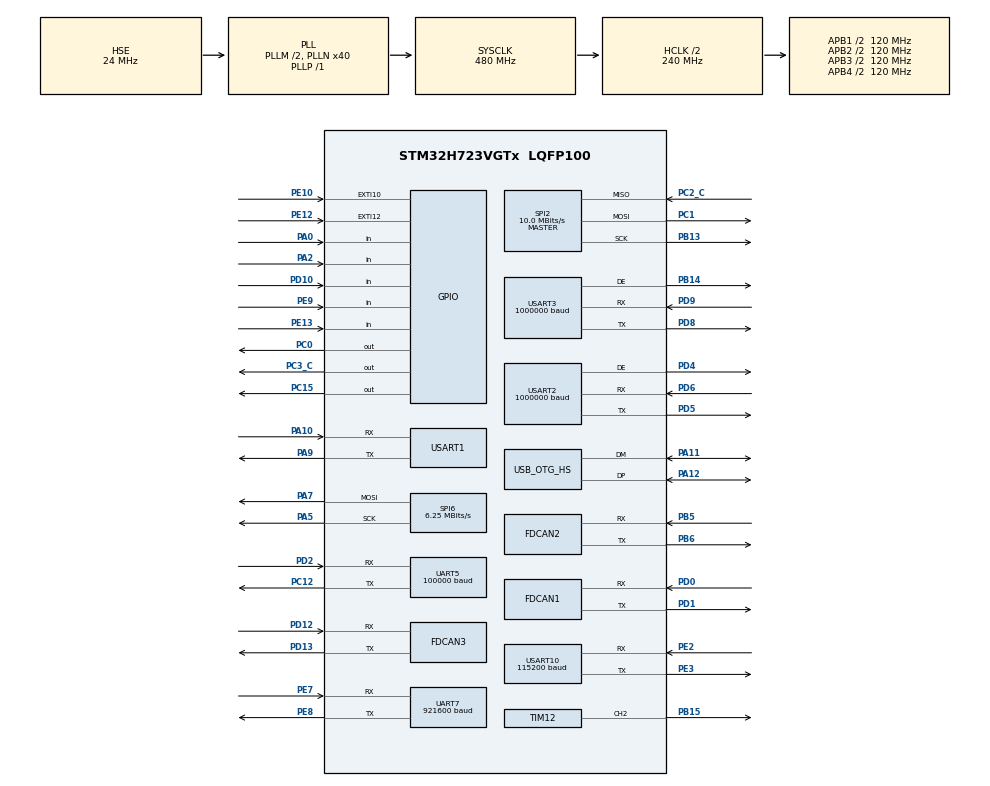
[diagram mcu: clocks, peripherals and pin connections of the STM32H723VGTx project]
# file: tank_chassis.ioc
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CORTEX_M7.CPU_ICache=Enabled
CORTEX_M7.Enable_Spec=MPU_REGION_ENABLE
CORTEX_M7.MPU_Control=__NULL
CORTEX_M7.default_mode_Activation=1
Dma.Request0=UART5_RX
Dma.Request1=UART7_RX
Dma.Request10=USART3_TX
Dma.Request11=SPI2_RX
Dma.Request12=SPI2_TX
Dma.Request2=UART7_TX
Dma.Request3=USART1_RX
Dma.Request4=USART1_TX
Dma.Request5=USART10_RX
Dma.Request6=USART10_TX
Dma.Request7=USART2_RX
Dma.Request8=USART2_TX
Dma.Request9=USART3_RX
Dma.SPI2_RX.11.Direction=DMA_PERIPH_TO_MEMORY
Dma.SPI2_RX.11.EventEnable=DISABLE
Dma.SPI2_RX.11.FIFOMode=DMA_FIFOMODE_DISABLE
Dma.SPI2_RX.11.Instance=DMA2_Stream3
Dma.SPI2_RX.11.MemDataAlignment=DMA_MDATAALIGN_BYTE
Dma.SPI2_RX.11.MemInc=DMA_MINC_ENABLE
Dma.SPI2_RX.11.Mode=DMA_NORMAL
Dma.SPI2_RX.11.PeriphDataAlignment=DMA_PDATAALIGN_BYTE
Dma.SPI2_RX.11.PeriphInc=DMA_PINC_DISABLE
Dma.SPI2_RX.11.Polarity=HAL_DMAMUX_REQ_GEN_RISING
Dma.SPI2_RX.11.Priority=DMA_PRIORITY_LOW
Dma.SPI2_RX.11.RequestNumber=1
Dma.SPI2_RX.11.SignalID=NONE
Dma.SPI2_RX.11.SyncEnable=DISABLE
Dma.SPI2_RX.11.SyncPolarity=HAL_DMAMUX_SYNC_NO_EVENT
Dma.SPI2_RX.11.SyncRequestNumber=1
Dma.SPI2_RX.11.SyncSignalID=NONE
Dma.SPI2_TX.12.Direction=DMA_MEMORY_TO_PERIPH
Dma.SPI2_TX.12.EventEnable=DISABLE
Dma.SPI2_TX.12.FIFOMode=DMA_FIFOMODE_DISABLE
Dma.SPI2_TX.12.Instance=DMA2_Stream4
Dma.SPI2_TX.12.MemDataAlignment=DMA_MDATAALIGN_BYTE
Dma.SPI2_TX.12.MemInc=DMA_MINC_ENABLE
Dma.SPI2_TX.12.Mode=DMA_NORMAL
Dma.SPI2_TX.12.PeriphDataAlignment=DMA_PDATAALIGN_BYTE
Dma.SPI2_TX.12.PeriphInc=DMA_PINC_DISABLE
Dma.SPI2_TX.12.Polarity=HAL_DMAMUX_REQ_GEN_RISING
Dma.SPI2_TX.12.Priority=DMA_PRIORITY_LOW
Dma.SPI2_TX.12.RequestNumber=1
Dma.SPI2_TX.12.SignalID=NONE
Dma.SPI2_TX.12.SyncEnable=DISABLE
Dma.SPI2_TX.12.SyncPolarity=HAL_DMAMUX_SYNC_NO_EVENT
Dma.SPI2_TX.12.SyncRequestNumber=1
Dma.SPI2_TX.12.SyncSignalID=NONE
Dma.UART5_RX.0.Direction=DMA_PERIPH_TO_MEMORY
Dma.UART5_RX.0.EventEnable=DISABLE
Dma.UART5_RX.0.FIFOMode=DMA_FIFOMODE_DISABLE
Dma.UART5_RX.0.Instance=DMA1_Stream0
Dma.UART5_RX.0.MemDataAlignment=DMA_MDATAALIGN_BYTE
Dma.UART5_RX.0.MemInc=DMA_MINC_ENABLE
Dma.UART5_RX.0.Mode=DMA_NORMAL
Dma.UART5_RX.0.PeriphDataAlignment=DMA_PDATAALIGN_BYTE
Dma.UART5_RX.0.PeriphInc=DMA_PINC_DISABLE
Dma.UART5_RX.0.Polarity=HAL_DMAMUX_REQ_GEN_RISING
Dma.UART5_RX.0.Priority=DMA_PRIORITY_LOW
Dma.UART5_RX.0.RequestNumber=1
Dma.UART5_RX.0.SignalID=NONE
Dma.UART5_RX.0.SyncEnable=DISABLE
Dma.UART5_RX.0.SyncPolarity=HAL_DMAMUX_SYNC_NO_EVENT
Dma.UART5_RX.0.SyncRequestNumber=1
Dma.UART5_RX.0.SyncSignalID=NONE
Dma.UART7_RX.1.Direction=DMA_PERIPH_TO_MEMORY
Dma.UART7_RX.1.EventEnable=DISABLE
Dma.UART7_RX.1.FIFOMode=DMA_FIFOMODE_DISABLE
Dma.UART7_RX.1.Instance=DMA1_Stream1
Dma.UART7_RX.1.MemDataAlignment=DMA_MDATAALIGN_BYTE
Dma.UART7_RX.1.MemInc=DMA_MINC_ENABLE
Dma.UART7_RX.1.Mode=DMA_NORMAL
Dma.UART7_RX.1.PeriphDataAlignment=DMA_PDATAALIGN_BYTE
Dma.UART7_RX.1.PeriphInc=DMA_PINC_DISABLE
Dma.UART7_RX.1.Polarity=HAL_DMAMUX_REQ_GEN_RISING
Dma.UART7_RX.1.Priority=DMA_PRIORITY_LOW
Dma.UART7_RX.1.RequestNumber=1
Dma.UART7_RX.1.SignalID=NONE
Dma.UART7_RX.1.SyncEnable=DISABLE
Dma.UART7_RX.1.SyncPolarity=HAL_DMAMUX_SYNC_NO_EVENT
Dma.UART7_RX.1.SyncRequestNumber=1
Dma.UART7_RX.1.SyncSignalID=NONE
Dma.UART7_TX.2.Direction=DMA_MEMORY_TO_PERIPH
Dma.UART7_TX.2.EventEnable=DISABLE
Dma.UART7_TX.2.FIFOMode=DMA_FIFOMODE_DISABLE
Dma.UART7_TX.2.Instance=DMA1_Stream2
Dma.UART7_TX.2.MemDataAlignment=DMA_MDATAALIGN_BYTE
Dma.UART7_TX.2.MemInc=DMA_MINC_ENABLE
Dma.UART7_TX.2.Mode=DMA_NORMAL
Dma.UART7_TX.2.PeriphDataAlignment=DMA_PDATAALIGN_BYTE
Dma.UART7_TX.2.PeriphInc=DMA_PINC_DISABLE
Dma.UART7_TX.2.Polarity=HAL_DMAMUX_REQ_GEN_RISING
Dma.UART7_TX.2.Priority=DMA_PRIORITY_LOW
Dma.UART7_TX.2.RequestNumber=1
Dma.UART7_TX.2.SignalID=NONE
Dma.UART7_TX.2.SyncEnable=DISABLE
Dma.UART7_TX.2.SyncPolarity=HAL_DMAMUX_SYNC_NO_EVENT
Dma.UART7_TX.2.SyncRequestNumber=1
Dma.UART7_TX.2.SyncSignalID=NONE
Dma.USART10_RX.5.Direction=DMA_PERIPH_TO_MEMORY
Dma.USART10_RX.5.EventEnable=DISABLE
Dma.USART10_RX.5.FIFOMode=DMA_FIFOMODE_DISABLE
Dma.USART10_RX.5.Instance=DMA1_Stream5
Dma.USART10_RX.5.MemDataAlignment=DMA_MDATAALIGN_BYTE
Dma.USART10_RX.5.MemInc=DMA_MINC_ENABLE
Dma.USART10_RX.5.Mode=DMA_NORMAL
Dma.USART10_RX.5.PeriphDataAlignment=DMA_PDATAALIGN_BYTE
Dma.USART10_RX.5.PeriphInc=DMA_PINC_DISABLE
Dma.USART10_RX.5.Polarity=HAL_DMAMUX_REQ_GEN_RISING
Dma.USART10_RX.5.Priority=DMA_PRIORITY_LOW
Dma.USART10_RX.5.RequestNumber=1
Dma.USART10_RX.5.SignalID=NONE
Dma.USART10_RX.5.SyncEnable=DISABLE
Dma.USART10_RX.5.SyncPolarity=HAL_DMAMUX_SYNC_NO_EVENT
Dma.USART10_RX.5.SyncRequestNumber=1
Dma.USART10_RX.5.SyncSignalID=NONE
Dma.USART10_TX.6.Direction=DMA_MEMORY_TO_PERIPH
Dma.USART10_TX.6.EventEnable=DISABLE
Dma.USART10_TX.6.FIFOMode=DMA_FIFOMODE_DISABLE
Dma.USART10_TX.6.Instance=DMA1_Stream6
Dma.USART10_TX.6.MemDataAlignment=DMA_MDATAALIGN_BYTE
Dma.USART10_TX.6.MemInc=DMA_MINC_ENABLE
Dma.USART10_TX.6.Mode=DMA_NORMAL
Dma.USART10_TX.6.PeriphDataAlignment=DMA_PDATAALIGN_BYTE
Dma.USART10_TX.6.PeriphInc=DMA_PINC_DISABLE
Dma.USART10_TX.6.Polarity=HAL_DMAMUX_REQ_GEN_RISING
Dma.USART10_TX.6.Priority=DMA_PRIORITY_LOW
Dma.USART10_TX.6.RequestNumber=1
Dma.USART10_TX.6.SignalID=NONE
Dma.USART10_TX.6.SyncEnable=DISABLE
Dma.USART10_TX.6.SyncPolarity=HAL_DMAMUX_SYNC_NO_EVENT
Dma.USART10_TX.6.SyncRequestNumber=1
Dma.USART10_TX.6.SyncSignalID=NONE
Dma.USART1_RX.3.Direction=DMA_PERIPH_TO_MEMORY
Dma.USART1_RX.3.EventEnable=DISABLE
Dma.USART1_RX.3.FIFOMode=DMA_FIFOMODE_DISABLE
Dma.USART1_RX.3.Instance=DMA1_Stream3
Dma.USART1_RX.3.MemDataAlignment=DMA_MDATAALIGN_BYTE
Dma.USART1_RX.3.MemInc=DMA_MINC_ENABLE
Dma.USART1_RX.3.Mode=DMA_NORMAL
Dma.USART1_RX.3.PeriphDataAlignment=DMA_PDATAALIGN_BYTE
Dma.USART1_RX.3.PeriphInc=DMA_PINC_DISABLE
Dma.USART1_RX.3.Polarity=HAL_DMAMUX_REQ_GEN_RISING
Dma.USART1_RX.3.Priority=DMA_PRIORITY_LOW
Dma.USART1_RX.3.RequestNumber=1
Dma.USART1_RX.3.SignalID=NONE
Dma.USART1_RX.3.SyncEnable=DISABLE
Dma.USART1_RX.3.SyncPolarity=HAL_DMAMUX_SYNC_NO_EVENT
Dma.USART1_RX.3.SyncRequestNumber=1
Dma.USART1_RX.3.SyncSignalID=NONE
Dma.USART1_TX.4.Direction=DMA_MEMORY_TO_PERIPH
Dma.USART1_TX.4.EventEnable=DISABLE
Dma.USART1_TX.4.FIFOMode=DMA_FIFOMODE_DISABLE
Dma.USART1_TX.4.Instance=DMA1_Stream4
Dma.USART1_TX.4.MemDataAlignment=DMA_MDATAALIGN_BYTE
Dma.USART1_TX.4.MemInc=DMA_MINC_ENABLE
Dma.USART1_TX.4.Mode=DMA_NORMAL
Dma.USART1_TX.4.PeriphDataAlignment=DMA_PDATAALIGN_BYTE
Dma.USART1_TX.4.PeriphInc=DMA_PINC_DISABLE
Dma.USART1_TX.4.Polarity=HAL_DMAMUX_REQ_GEN_RISING
Dma.USART1_TX.4.Priority=DMA_PRIORITY_LOW
Dma.USART1_TX.4.RequestNumber=1
Dma.USART1_TX.4.SignalID=NONE
Dma.USART1_TX.4.SyncEnable=DISABLE
Dma.USART1_TX.4.SyncPolarity=HAL_DMAMUX_SYNC_NO_EVENT
Dma.USART1_TX.4.SyncRequestNumber=1
Dma.USART1_TX.4.SyncSignalID=NONE
Dma.USART2_RX.7.Direction=DMA_PERIPH_TO_MEMORY
Dma.USART2_RX.7.EventEnable=DISABLE
Dma.USART2_RX.7.FIFOMode=DMA_FIFOMODE_DISABLE
Dma.USART2_RX.7.Instance=DMA1_Stream7
Dma.USART2_RX.7.MemDataAlignment=DMA_MDATAALIGN_BYTE
Dma.USART2_RX.7.MemInc=DMA_MINC_ENABLE
Dma.USART2_RX.7.Mode=DMA_NORMAL
Dma.USART2_RX.7.PeriphDataAlignment=DMA_PDATAALIGN_BYTE
Dma.USART2_RX.7.PeriphInc=DMA_PINC_DISABLE
Dma.USART2_RX.7.Polarity=HAL_DMAMUX_REQ_GEN_RISING
Dma.USART2_RX.7.Priority=DMA_PRIORITY_LOW
Dma.USART2_RX.7.RequestNumber=1
Dma.USART2_RX.7.SignalID=NONE
Dma.USART2_RX.7.SyncEnable=DISABLE
Dma.USART2_RX.7.SyncPolarity=HAL_DMAMUX_SYNC_NO_EVENT
Dma.USART2_RX.7.SyncRequestNumber=1
Dma.USART2_RX.7.SyncSignalID=NONE
Dma.USART2_TX.8.Direction=DMA_MEMORY_TO_PERIPH
Dma.USART2_TX.8.EventEnable=DISABLE
Dma.USART2_TX.8.FIFOMode=DMA_FIFOMODE_DISABLE
Dma.USART2_TX.8.Instance=DMA2_Stream0
Dma.USART2_TX.8.MemDataAlignment=DMA_MDATAALIGN_BYTE
Dma.USART2_TX.8.MemInc=DMA_MINC_ENABLE
Dma.USART2_TX.8.Mode=DMA_NORMAL
Dma.USART2_TX.8.PeriphDataAlignment=DMA_PDATAALIGN_BYTE
Dma.USART2_TX.8.PeriphInc=DMA_PINC_DISABLE
Dma.USART2_TX.8.Polarity=HAL_DMAMUX_REQ_GEN_RISING
Dma.USART2_TX.8.Priority=DMA_PRIORITY_LOW
Dma.USART2_TX.8.RequestNumber=1
Dma.USART2_TX.8.SignalID=NONE
Dma.USART2_TX.8.SyncEnable=DISABLE
Dma.USART2_TX.8.SyncPolarity=HAL_DMAMUX_SYNC_NO_EVENT
Dma.USART2_TX.8.SyncRequestNumber=1
Dma.USART2_TX.8.SyncSignalID=NONE
Dma.USART3_RX.9.Direction=DMA_PERIPH_TO_MEMORY
Dma.USART3_RX.9.EventEnable=DISABLE
Dma.USART3_RX.9.FIFOMode=DMA_FIFOMODE_DISABLE
Dma.USART3_RX.9.Instance=DMA2_Stream1
Dma.USART3_RX.9.MemDataAlignment=DMA_MDATAALIGN_BYTE
Dma.USART3_RX.9.MemInc=DMA_MINC_ENABLE
Dma.USART3_RX.9.Mode=DMA_NORMAL
Dma.USART3_RX.9.PeriphDataAlignment=DMA_PDATAALIGN_BYTE
Dma.USART3_RX.9.PeriphInc=DMA_PINC_DISABLE
Dma.USART3_RX.9.Polarity=HAL_DMAMUX_REQ_GEN_RISING
Dma.USART3_RX.9.Priority=DMA_PRIORITY_LOW
Dma.USART3_RX.9.RequestNumber=1
Dma.USART3_RX.9.SignalID=NONE
Dma.USART3_RX.9.SyncEnable=DISABLE
Dma.USART3_RX.9.SyncPolarity=HAL_DMAMUX_SYNC_NO_EVENT
Dma.USART3_RX.9.SyncRequestNumber=1
Dma.USART3_RX.9.SyncSignalID=NONE
Dma.USART3_TX.10.Direction=DMA_MEMORY_TO_PERIPH
Dma.USART3_TX.10.EventEnable=DISABLE
Dma.USART3_TX.10.FIFOMode=DMA_FIFOMODE_DISABLE
Dma.USART3_TX.10.Instance=DMA2_Stream2
Dma.USART3_TX.10.MemDataAlignment=DMA_MDATAALIGN_BYTE
Dma.USART3_TX.10.MemInc=DMA_MINC_ENABLE
Dma.USART3_TX.10.Mode=DMA_NORMAL
Dma.USART3_TX.10.PeriphDataAlignment=DMA_PDATAALIGN_BYTE
Dma.USART3_TX.10.PeriphInc=DMA_PINC_DISABLE
Dma.USART3_TX.10.Polarity=HAL_DMAMUX_REQ_GEN_RISING
Dma.USART3_TX.10.Priority=DMA_PRIORITY_LOW
Dma.USART3_TX.10.RequestNumber=1
Dma.USART3_TX.10.SignalID=NONE
Dma.USART3_TX.10.SyncEnable=DISABLE
Dma.USART3_TX.10.SyncPolarity=HAL_DMAMUX_SYNC_NO_EVENT
Dma.USART3_TX.10.SyncRequestNumber=1
Dma.USART3_TX.10.SyncSignalID=NONE
FDCAN1.AutoRetransmission=ENABLE
FDCAN1.CalculateBaudRateNominal=1000000
FDCAN1.CalculateTimeBitNominal=1000
FDCAN1.CalculateTimeQuantumNominal=25.0
FDCAN1.DataPrescaler=3
FDCAN1.DataSyncJumpWidth=10
FDCAN1.DataTimeSeg1=29
FDCAN1.DataTimeSeg2=10
FDCAN1.NominalPrescaler=3
FDCAN1.NominalSyncJumpWidth=10
FDCAN1.NominalTimeSeg1=29
FDCAN1.NominalTimeSeg2=10
FDCAN1.RxFifo0ElmtsNbr=16
FDCAN1.StdFiltersNbr=1
FDCAN1.TxFifoQueueElmtsNbr=8
FDCAN2.AutoRetransmission=ENABLE
FDCAN2.CalculateBaudRateNominal=1000000
FDCAN2.CalculateTimeBitNominal=1000
FDCAN2.CalculateTimeQuantumNominal=25.0
FDCAN2.DataPrescaler=3
FDCAN2.DataSyncJumpWidth=10
FDCAN2.DataTimeSeg1=29
FDCAN2.DataTimeSeg2=10
FDCAN2.MessageRAMOffset=853
FDCAN2.NominalPrescaler=3
FDCAN2.NominalSyncJumpWidth=10
FDCAN2.NominalTimeSeg1=29
FDCAN2.NominalTimeSeg2=10
FDCAN2.RxFifo0ElmtsNbr=16
FDCAN2.StdFiltersNbr=1
FDCAN2.TxFifoQueueElmtsNbr=8
FDCAN3.AutoRetransmission=ENABLE
FDCAN3.CalculateBaudRateNominal=1000000
FDCAN3.CalculateTimeBitNominal=1000
FDCAN3.CalculateTimeQuantumNominal=25.0
FDCAN3.DataPrescaler=3
FDCAN3.DataSyncJumpWidth=10
FDCAN3.DataTimeSeg1=29
FDCAN3.DataTimeSeg2=10
FDCAN3.MessageRAMOffset=1706
FDCAN3.NominalPrescaler=3
FDCAN3.NominalSyncJumpWidth=10
FDCAN3.NominalTimeSeg1=29
FDCAN3.NominalTimeSeg2=10
FDCAN3.RxFifo0ElmtsNbr=16
FDCAN3.StdFiltersNbr=1
FDCAN3.TxFifoQueueElmtsNbr=8
FREERTOS.Tasks01=defaultTask,24,128,StartDefaultTask,Default,NULL,Dynamic,NULL,NULL
FREERTOS.configTOTAL_HEAP_SIZE=32768
IWDG1.Prescaler=IWDG_PRESCALER_32
IWDG1.Reload=999
Mcu.Family=STM32H7
Mcu.Name=STM32H723VGTx
Mcu.Package=LQFP100
NVIC.DMA1_Stream0_IRQn=true\:5\:0\:false\:false\:true\:true\:false\:true\:true
NVIC.DMA1_Stream1_IRQn=true\:5\:0\:false\:false\:true\:true\:false\:true\:true
NVIC.DMA1_Stream2_IRQn=true\:5\:0\:false\:false\:true\:true\:false\:true\:true
NVIC.DMA1_Stream3_IRQn=true\:5\:0\:false\:false\:true\:true\:false\:true\:true
NVIC.DMA1_Stream4_IRQn=true\:5\:0\:false\:false\:true\:true\:false\:true\:true
NVIC.DMA1_Stream5_IRQn=true\:5\:0\:false\:false\:true\:true\:false\:true\:true
NVIC.DMA1_Stream6_IRQn=true\:5\:0\:false\:false\:true\:true\:false\:true\:true
NVIC.DMA1_Stream7_IRQn=true\:5\:0\:false\:false\:true\:true\:false\:true\:true
NVIC.DMA2_Stream0_IRQn=true\:5\:0\:false\:false\:true\:true\:false\:true\:true
NVIC.DMA2_Stream1_IRQn=true\:5\:0\:false\:false\:true\:true\:false\:true\:true
NVIC.DMA2_Stream2_IRQn=true\:5\:0\:false\:false\:true\:true\:false\:true\:true
NVIC.DMA2_Stream3_IRQn=true\:5\:0\:false\:false\:true\:true\:false\:true\:true
NVIC.DMA2_Stream4_IRQn=true\:5\:0\:false\:false\:true\:true\:false\:true\:true
NVIC.EXTI15_10_IRQn=true\:5\:0\:false\:false\:true\:true\:true\:true\:true
NVIC.FDCAN1_IT0_IRQn=true\:5\:0\:false\:false\:true\:true\:true\:true\:true
NVIC.FDCAN1_IT1_IRQn=true\:5\:0\:false\:false\:true\:true\:true\:true\:true
NVIC.FDCAN2_IT0_IRQn=true\:5\:0\:false\:false\:true\:true\:true\:true\:true
NVIC.FDCAN2_IT1_IRQn=true\:5\:0\:false\:false\:true\:true\:true\:true\:true
NVIC.FDCAN3_IT0_IRQn=true\:5\:0\:false\:false\:true\:true\:true\:true\:true
NVIC.FDCAN3_IT1_IRQn=true\:5\:0\:false\:false\:true\:true\:true\:true\:true
NVIC.OTG_HS_IRQn=true\:5\:0\:false\:false\:true\:true\:false\:true\:true
NVIC.PriorityGroup=NVIC_PRIORITYGROUP_4
NVIC.SPI2_IRQn=true\:5\:0\:false\:false\:true\:true\:false\:true\:true
NVIC.SPI6_IRQn=true\:5\:0\:false\:false\:true\:true\:true\:true\:true
NVIC.TIM23_IRQn=true\:15\:0\:false\:false\:true\:false\:false\:true\:true
NVIC.TimeBase=TIM23_IRQn
NVIC.TimeBaseIP=TIM23
NVIC.UART5_IRQn=true\:5\:0\:false\:false\:true\:true\:true\:true\:true
NVIC.UART7_IRQn=true\:5\:0\:false\:false\:true\:true\:true\:true\:true
NVIC.USART10_IRQn=true\:5\:0\:false\:false\:true\:true\:true\:true\:true
NVIC.USART1_IRQn=true\:5\:0\:false\:false\:true\:true\:true\:true\:true
NVIC.USART2_IRQn=true\:5\:0\:false\:false\:true\:true\:true\:true\:true
NVIC.USART3_IRQn=true\:5\:0\:false\:false\:true\:true\:true\:true\:true
PA0.GPIO_PuPd=GPIO_PULLUP
PA0.Signal=GPIO_Input
PA10.Mode=Asynchronous
PA10.Signal=USART1_RX
PA11.Mode=Device_Only_FS
PA11.Signal=USB_OTG_HS_DM
PA12.Mode=Device_Only_FS
PA12.Signal=USB_OTG_HS_DP
PA13(JTMS/SWDIO).Mode=Serial_Wire
PA13(JTMS/SWDIO).Signal=DEBUG_JTMS-SWDIO
PA14(JTCK/SWCLK).Mode=Serial_Wire
PA14(JTCK/SWCLK).Signal=DEBUG_JTCK-SWCLK
PA2.GPIO_PuPd=GPIO_PULLUP
PA2.Signal=GPIO_Input
PA5.GPIO_Speed=GPIO_SPEED_FREQ_VERY_HIGH
PA5.Mode=TX_Only_Simplex_Unidirect_Master
PA5.Signal=SPI6_SCK
PA7.GPIO_PuPd=GPIO_PULLDOWN
PA7.GPIO_Speed=GPIO_SPEED_FREQ_VERY_HIGH
PA7.Mode=TX_Only_Simplex_Unidirect_Master
PA7.Signal=SPI6_MOSI
PA9.Mode=Asynchronous
PA9.Signal=USART1_TX
PB13.GPIO_Speed=GPIO_SPEED_FREQ_VERY_HIGH
PB13.Mode=Full_Duplex_Master
PB13.Signal=SPI2_SCK
PB14.Mode=Hardware Flow Control (RS485)
PB14.Signal=USART3_DE
PB15.Signal=S_TIM12_CH2
PB5.Mode=FDCAN_Activate
PB5.Signal=FDCAN2_RX
PB6.Mode=FDCAN_Activate
PB6.Signal=FDCAN2_TX
PC0.GPIO_Speed=GPIO_SPEED_FREQ_VERY_HIGH
PC0.PinState=GPIO_PIN_SET
PC0.Signal=GPIO_Output
PC1.GPIO_Speed=GPIO_SPEED_FREQ_VERY_HIGH
PC1.Mode=Full_Duplex_Master
PC1.Signal=SPI2_MOSI
PC12.Mode=Asynchronous
PC12.Signal=UART5_TX
PC15-OSC32_OUT.PinState=GPIO_PIN_SET
PC15-OSC32_OUT.Signal=GPIO_Output
PC2_C.GPIO_Speed=GPIO_SPEED_FREQ_VERY_HIGH
PC2_C.Mode=Full_Duplex_Master
PC2_C.Signal=SPI2_MISO
PC3_C.GPIO_Speed=GPIO_SPEED_FREQ_VERY_HIGH
PC3_C.PinState=GPIO_PIN_SET
PC3_C.Signal=GPIO_Output
PD0.Mode=FDCAN_Activate
PD0.Signal=FDCAN1_RX
PD1.Mode=FDCAN_Activate
PD1.Signal=FDCAN1_TX
PD10.GPIO_PuPd=GPIO_PULLUP
PD10.Signal=GPIO_Input
PD12.Mode=FDCAN_Activate
PD12.Signal=FDCAN3_RX
PD13.Mode=FDCAN_Activate
PD13.Signal=FDCAN3_TX
PD2.Mode=Asynchronous
PD2.Signal=UART5_RX
PD4.Mode=Hardware Flow Control (RS485)
PD4.Signal=USART2_DE
PD5.Mode=Asynchronous
PD5.Signal=USART2_TX
PD6.Mode=Asynchronous
PD6.Signal=USART2_RX
PD8.Mode=Asynchronous
PD8.Signal=USART3_TX
PD9.Mode=Asynchronous
PD9.Signal=USART3_RX
PE10.Signal=GPXTI10
PE12.Signal=GPXTI12
PE13.GPIO_PuPd=GPIO_PULLUP
PE13.Signal=GPIO_Input
PE2.Mode=Asynchronous
PE2.Signal=USART10_RX
PE3.Mode=Asynchronous
PE3.Signal=USART10_TX
PE7.Mode=Asynchronous
PE7.Signal=UART7_RX
PE8.Mode=Asynchronous
PE8.Signal=UART7_TX
PE9.GPIO_PuPd=GPIO_PULLUP
PE9.Signal=GPIO_Input
PH0-OSC_IN.Mode=HSE-External-Oscillator
PH0-OSC_IN.Signal=RCC_OSC_IN
PH1-OSC_OUT.Mode=HSE-External-Oscillator
PH1-OSC_OUT.Signal=RCC_OSC_OUT
ProjectManager.HeapSize=0x20000
ProjectManager.StackSize=0x10000
ProjectManager.TargetToolchain=MDK-ARM V5.32
RCC.ADCFreq_Value=100000000
RCC.APB1Freq_Value=120000000
RCC.APB2Freq_Value=120000000
RCC.APB3Freq_Value=120000000
RCC.APB4Freq_Value=120000000
RCC.CKPERSourceSelection=RCC_CLKPSOURCE_HSE
RCC.CortexFreq_Value=480000000
RCC.D1PPRE=RCC_APB3_DIV2
RCC.D2PPRE1=RCC_APB1_DIV2
RCC.D2PPRE2=RCC_APB2_DIV2
RCC.D3PPRE=RCC_APB4_DIV2
RCC.DIVM1=2
RCC.DIVM2=12
RCC.DIVM3=24
RCC.DIVN1=40
RCC.DIVN2=100
RCC.DIVN3=160
RCC.DIVP1=1
RCC.DIVQ1=4
RCC.DIVQ2=4
RCC.HCLKFreq_Value=240000000
RCC.HPRE=RCC_HCLK_DIV2
RCC.HSE_VALUE=24000000
RCC.PLL2FRACN=0
RCC.PLLFRACN=0
RCC.PLLSourceVirtual=RCC_PLLSOURCE_HSE
RCC.SPI123CLockSelection=RCC_SPI123CLKSOURCE_PLL3
RCC.SPI6CLockSelection=RCC_SPI6CLKSOURCE_PLL2
RCC.SYSCLKFreq_VALUE=480000000
RCC.SYSCLKSource=RCC_SYSCLKSOURCE_PLLCLK
RCC.USBCLockSelection=RCC_USBCLKSOURCE_HSI48
RCC.USBFreq_Value=48000000
SH.S_TIM12_CH2.0=TIM12_CH2,PWM Generation2 CH2
SPI2.BaudRatePrescaler=SPI_BAUDRATEPRESCALER_8
SPI2.CLKPhase=SPI_PHASE_2EDGE
SPI2.CLKPolarity=SPI_POLARITY_HIGH
SPI2.CalculateBaudRate=10.0 MBits/s
SPI2.DataSize=SPI_DATASIZE_8BIT
SPI2.Direction=SPI_DIRECTION_2LINES
SPI2.Mode=SPI_MODE_MASTER
SPI2.VirtualType=VM_MASTER
SPI6.BaudRatePrescaler=SPI_BAUDRATEPRESCALER_8
SPI6.CalculateBaudRate=6.25 MBits/s
SPI6.DataSize=SPI_DATASIZE_8BIT
SPI6.Direction=SPI_DIRECTION_2LINES_TXONLY
SPI6.Mode=SPI_MODE_MASTER
SPI6.VirtualType=VM_MASTER
TIM12.Channel-PWM\ Generation2\ CH2=TIM_CHANNEL_2
TIM12.Period=250-1
TIM12.Prescaler=240-1
TIM12.Pulse-PWM\ Generation2\ CH2=0
UART5.BaudRate=100000
UART5.Mode=MODE_TX_RX
UART5.Parity=PARITY_EVEN
UART5.StopBits=UART_STOPBITS_2
UART5.WordLength=WORDLENGTH_9B
UART7.BaudRate=921600
USART1.VirtualMode-Asynchronous=VM_ASYNC
USART10.BaudRate=115200
USART10.VirtualMode=VM_ASYNC
USART2.BaudRate=1000000
USART2.VirtualMode-Asynchronous=VM_ASYNC
USART2.VirtualMode-Hardware\ Flow\ Control\ (RS485)=VM_ASYNC
USART3.BaudRate=1000000
USART3.VirtualMode-Asynchronous=VM_ASYNC
USART3.VirtualMode-Hardware\ Flow\ Control\ (RS485)=VM_ASYNC
USB_DEVICE.CLASS_NAME_HS=CDC
USB_DEVICE.VirtualMode=Cdc
USB_DEVICE.VirtualModeHS=Cdc_HS
USB_OTG_HS.VirtualMode-Device_Only_FS=Device_Only_FS
VP_FREERTOS_VS_CMSIS_V2.Mode=CMSIS_V2
VP_IWDG1_VS_IWDG.Mode=IWDG_Activate
VP_MEMORYMAP_VS_MEMORYMAP.Mode=CurAppReg
VP_SYS_VS_tim23.Mode=TIM23
VP_TIM12_VS_ClockSourceINT.Mode=Internal
VP_TIM6_VS_ClockSourceINT.Mode=Enable_Timer
VP_USB_DEVICE_VS_USB_DEVICE_CDC_HS.Mode=CDC_HS
board=custom

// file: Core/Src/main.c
/* USER CODE BEGIN Header */
/**
  ******************************************************************************
  * @file           : main.c
  * @brief          : Main program body
  ******************************************************************************
  * @attention
  *
  * Copyright (c) 2026 STMicroelectronics.
  * All rights reserved.
  *
  * This software is licensed under terms that can be found in the LICENSE file
  * in the root directory of this software component.
  * If no LICENSE file comes with this software, it is provided AS-IS.
  *
  ******************************************************************************
  */
/* USER CODE END Header */
#include "main.h"
#include "cmsis_os.h"
#include "dma.h"
#include "fdcan.h"
#include "iwdg.h"
#include "spi.h"
#include "tim.h"
#include "usart.h"
#include "usb_device.h"
#include "gpio.h"

/* USER CODE BEGIN PV */
volatile uint32_t g_watchdog_reset_detected = 0;
volatile uint32_t g_watchdog_rearm_required = 0;

/* USER CODE END PV */

void SystemClock_Config(void);
void MX_FREERTOS_Init(void);

/* USER CODE BEGIN 0 */
/* SPI6 初始化完成后调用，点亮板载绿色指示灯。 */
static void Board_LED_Init(void)
{
  /* SPI6 为 6.25 Mbit/s，上电初始化时发送一次低亮度绿色，灯珠自行保持常亮。 */
  uint8_t led_tx[256 + 24 + 256] = {0};
  const uint8_t led_grb[3] = {16, 0, 0}; /* WS2812 按 G、R、B 顺序接收。 */
  uint16_t led_index = 256;

  for (uint8_t color = 0; color < 3; ++color)
  {
    for (uint8_t mask = 0x80; mask != 0; mask >>= 1)
    {
      /* 每位 1.28 us：0 高电平 0.32 us，1 高电平 0.80 us。 */
      led_tx[led_index++] = (led_grb[color] & mask) ? 0xF8 : 0xC0;
    }
  }
  /* 帧前、帧后各约 328 us 低电平，用于复位和锁存颜色。 */
  if (HAL_SPI_Transmit(&hspi6, led_tx, sizeof(led_tx), 20) != HAL_OK)
  {
    Error_Handler();
  }
}

/* USER CODE END 0 */

int main(void)
{

  /* Enable the CPU Cache */

  /* Enable I-Cache---------------------------------------------------------*/
  SCB_EnableICache();

  /* MCU Configuration--------------------------------------------------------*/

  /* Reset of all peripherals, Initializes the Flash interface and the Systick. */
  HAL_Init();

  /* USER CODE BEGIN Init */
  g_watchdog_reset_detected = (__HAL_RCC_GET_FLAG(RCC_FLAG_IWDG1RST) != RESET) ? 1U : 0U;
  g_watchdog_rearm_required = g_watchdog_reset_detected;
  __HAL_RCC_CLEAR_RESET_FLAGS();

  /* USER CODE END Init */

  /* Configure the system clock */
  SystemClock_Config();

  /* Initialize all configured peripherals */
  MX_GPIO_Init();
  MX_DMA_Init();
  MX_FDCAN1_Init();
  MX_FDCAN2_Init();
  MX_FDCAN3_Init();
  MX_UART5_Init();
  MX_UART7_Init();
  MX_USART1_UART_Init();
  MX_USART10_UART_Init();
  MX_USART2_UART_Init();
  MX_USART3_UART_Init();
  MX_SPI2_Init();
  MX_TIM6_Init();
  MX_TIM12_Init();
  MX_SPI6_Init();
  MX_IWDG1_Init();
  /* USER CODE BEGIN 2 */
  Board_LED_Init();

  /* USER CODE END 2 */

  /* Init scheduler */
  osKernelInitialize();  /* Call init function for freertos objects (in cmsis_os2.c) */
  MX_FREERTOS_Init();

  /* Start scheduler */
  osKernelStart();

  /* We should never get here as control is now taken by the scheduler */

  /* Infinite loop */
  while (1)
  {

  }
}

void SystemClock_Config(void)
{
  RCC_OscInitTypeDef RCC_OscInitStruct = {0};
  RCC_ClkInitTypeDef RCC_ClkInitStruct = {0};

  /** Supply configuration update enable
  */
  HAL_PWREx_ConfigSupply(PWR_LDO_SUPPLY);

  /** Configure the main internal regulator output voltage
  */
  __HAL_PWR_VOLTAGESCALING_CONFIG(PWR_REGULATOR_VOLTAGE_SCALE0);

  while(!__HAL_PWR_GET_FLAG(PWR_FLAG_VOSRDY)) {}

  /** Initializes the RCC Oscillators according to the specified parameters
  * in the RCC_OscInitTypeDef structure.
  */
  RCC_OscInitStruct.OscillatorType = RCC_OSCILLATORTYPE_HSI48|RCC_OSCILLATORTYPE_LSI
                              |RCC_OSCILLATORTYPE_HSE;
  RCC_OscInitStruct.HSEState = RCC_HSE_ON;
  RCC_OscInitStruct.LSIState = RCC_LSI_ON;
  RCC_OscInitStruct.HSI48State = RCC_HSI48_ON;
  RCC_OscInitStruct.PLL.PLLState = RCC_PLL_ON;
  RCC_OscInitStruct.PLL.PLLSource = RCC_PLLSOURCE_HSE;
  RCC_OscInitStruct.PLL.PLLM = 2;
  RCC_OscInitStruct.PLL.PLLN = 40;
  RCC_OscInitStruct.PLL.PLLP = 1;
  RCC_OscInitStruct.PLL.PLLQ = 4;
  RCC_OscInitStruct.PLL.PLLR = 2;
  RCC_OscInitStruct.PLL.PLLRGE = RCC_PLL1VCIRANGE_3;
  RCC_OscInitStruct.PLL.PLLVCOSEL = RCC_PLL1VCOWIDE;
  RCC_OscInitStruct.PLL.PLLFRACN = 0;
  if (HAL_RCC_OscConfig(&RCC_OscInitStruct) != HAL_OK)
  {
    Error_Handler();
  }

  /** Initializes the CPU, AHB and APB buses clocks
  */
  RCC_ClkInitStruct.ClockType = RCC_CLOCKTYPE_HCLK|RCC_CLOCKTYPE_SYSCLK
                              |RCC_CLOCKTYPE_PCLK1|RCC_CLOCKTYPE_PCLK2
                              |RCC_CLOCKTYPE_D3PCLK1|RCC_CLOCKTYPE_D1PCLK1;
  RCC_ClkInitStruct.SYSCLKSource = RCC_SYSCLKSOURCE_PLLCLK;
  RCC_ClkInitStruct.SYSCLKDivider = RCC_SYSCLK_DIV1;
  RCC_ClkInitStruct.AHBCLKDivider = RCC_HCLK_DIV2;
  RCC_ClkInitStruct.APB3CLKDivider = RCC_APB3_DIV2;
  RCC_ClkInitStruct.APB1CLKDivider = RCC_APB1_DIV2;
  RCC_ClkInitStruct.APB2CLKDivider = RCC_APB2_DIV2;
  RCC_ClkInitStruct.APB4CLKDivider = RCC_APB4_DIV2;

  if (HAL_RCC_ClockConfig(&RCC_ClkInitStruct, FLASH_LATENCY_3) != HAL_OK)
  {
    Error_Handler();
  }
}

void HAL_TIM_PeriodElapsedCallback(TIM_HandleTypeDef *htim)
{
  if (htim->Instance == TIM23)
  {
    HAL_IncTick();
  }
}

void Error_Handler(void)
{
  __disable_irq();
  while (1)
  {
  }
}

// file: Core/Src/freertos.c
/* USER CODE BEGIN Header */
/**
  ******************************************************************************
  * File Name          : freertos.c
  * Description        : Code for freertos applications
  ******************************************************************************
  * @attention
  *
  * Copyright (c) 2026 STMicroelectronics.
  * All rights reserved.
  *
  * This software is licensed under terms that can be found in the LICENSE file
  * in the root directory of this software component.
  * If no LICENSE file comes with this software, it is provided AS-IS.
  *
  ******************************************************************************
  */
/* USER CODE END Header */

#include "FreeRTOS.h"
#include "task.h"
#include "main.h"
#include "cmsis_os.h"

/* USER CODE BEGIN Includes */
#include "usb_device.h"
#include "iwdg.h"
#include "watchdog_heartbeat.h"

/* USER CODE END Includes */

/* USER CODE BEGIN PD */
#define WATCHDOG_CHECK_PERIOD_MS 30U
#define WATCHDOG_STARTUP_TIMEOUT_MS 3000U
#define WATCHDOG_HEARTBEAT_TIMEOUT_MS 200U

/* USER CODE END PD */

/* USER CODE BEGIN Variables */
volatile uint32_t g_watchdog_heartbeats[WATCHDOG_TASK_COUNT] = {0};

/* USER CODE END Variables */
/* Definitions for defaultTask */
osThreadId_t defaultTaskHandle;
const osThreadAttr_t defaultTask_attributes = {
  .name = "defaultTask",
  .stack_size = 128 * 4,
  .priority = (osPriority_t) osPriorityNormal,
};

/* USER CODE BEGIN FunctionPrototypes */
extern void gantry_task(void *argument);
BaseType_t start_remote_control;
BaseType_t start_can_send;
BaseType_t start_up_stair;

TaskHandle_t xUpStairHandle;
TaskHandle_t xRemoteHandle;
TaskHandle_t xCanSendHandle;
TaskHandle_t xUIHandle;
TaskHandle_t xGantryHandle;

static void watchdog_task(void *argument);

extern void MX_USB_DEVICE_Init(void);

/* USER CODE END FunctionPrototypes */

void StartDefaultTask(void *argument);

extern void MX_USB_DEVICE_Init(void);
void MX_FREERTOS_Init(void); /* (MISRA C 2004 rule 8.1) */

void MX_FREERTOS_Init(void) {

  /* Create the thread(s) */
  /* creation of defaultTask */
  defaultTaskHandle = osThreadNew(StartDefaultTask, NULL, &defaultTask_attributes);

  /* USER CODE BEGIN RTOS_THREADS */
  /* add threads, ... */
  	start_can_send = xTaskCreate(can_send_task, "CAN_Send_Task", 1024, NULL, osPriorityAboveNormal, &xCanSendHandle);
  start_remote_control = xTaskCreate(remote_task, "Remote_Control_Task", 256, NULL, osPriorityAboveNormal, &xRemoteHandle);
  xTaskCreate(ui_task, "UI_Task", 384, NULL, osPriorityNormal, &xUIHandle);
  start_up_stair = xTaskCreate(up_stair_task, "Up_Stair_Task", 512, NULL, osPriorityRealtime, &xUpStairHandle);
  const BaseType_t start_gantry = xTaskCreate(gantry_task, "Gantry_Task", 512, NULL, osPriorityRealtime, &xGantryHandle);
  const BaseType_t start_watchdog = xTaskCreate(watchdog_task, "Watchdog_Task", 128, NULL, osPriorityRealtime+1, NULL);
  if (start_can_send != pdPASS || start_remote_control != pdPASS ||
      start_up_stair != pdPASS || start_gantry != pdPASS || start_watchdog != pdPASS)
  {
    Error_Handler();
  }
  /* USER CODE END RTOS_THREADS */

}

void StartDefaultTask(void *argument)
{
  /* init code for USB_DEVICE */
  MX_USB_DEVICE_Init();
  /* USER CODE BEGIN StartDefaultTask */
  /* Infinite loop */
  for(;;)
  {
    osThreadExit();
  }
  /* USER CODE END StartDefaultTask */
}

/* USER CODE BEGIN Application */
void Watchdog_RecordHeartbeat(WatchdogTask task)
{
  taskENTER_CRITICAL();
  ++g_watchdog_heartbeats[task];
  taskEXIT_CRITICAL();
}

static void watchdog_task(void *argument)
{
  const TickType_t start = xTaskGetTickCount();
  uint32_t previous[WATCHDOG_TASK_COUNT] = {0};
  TickType_t last_change[WATCHDOG_TASK_COUNT] = {0};
  uint32_t seen = 0;
  uint8_t running = 0;
  uint8_t failed = 0;
  (void)argument;
  for (;;)
  {
    const TickType_t now = xTaskGetTickCount();
    uint32_t snapshot[WATCHDOG_TASK_COUNT];
    uint8_t healthy = 1;
    taskENTER_CRITICAL();
    for (unsigned i = 0; i < WATCHDOG_TASK_COUNT; ++i)
      snapshot[i] = g_watchdog_heartbeats[i];
    taskEXIT_CRITICAL();

    for (unsigned i = 0; i < WATCHDOG_TASK_COUNT; ++i)
    {
      if (snapshot[i] != previous[i])
      {
        previous[i] = snapshot[i];
        last_change[i] = now;
        seen |= (1UL << i);
      }
      if ((seen & (1UL << i)) == 0U ||
          (TickType_t)(now - last_change[i]) >= pdMS_TO_TICKS(WATCHDOG_HEARTBEAT_TIMEOUT_MS))
        healthy = 0;
    }

    if (!failed)
    {
      if (!running)
      {
        if ((TickType_t)(now - start) >= pdMS_TO_TICKS(WATCHDOG_STARTUP_TIMEOUT_MS))
          failed = 1;
        else if (healthy)
          running = 1;
      }
      else if (!healthy)
        failed = 1;

      if (!failed && HAL_IWDG_Refresh(&hiwdg1) != HAL_OK)
        failed = 1;
    }
    vTaskDelay(pdMS_TO_TICKS(WATCHDOG_CHECK_PERIOD_MS));
  }
}

/* USER CODE END Application */
